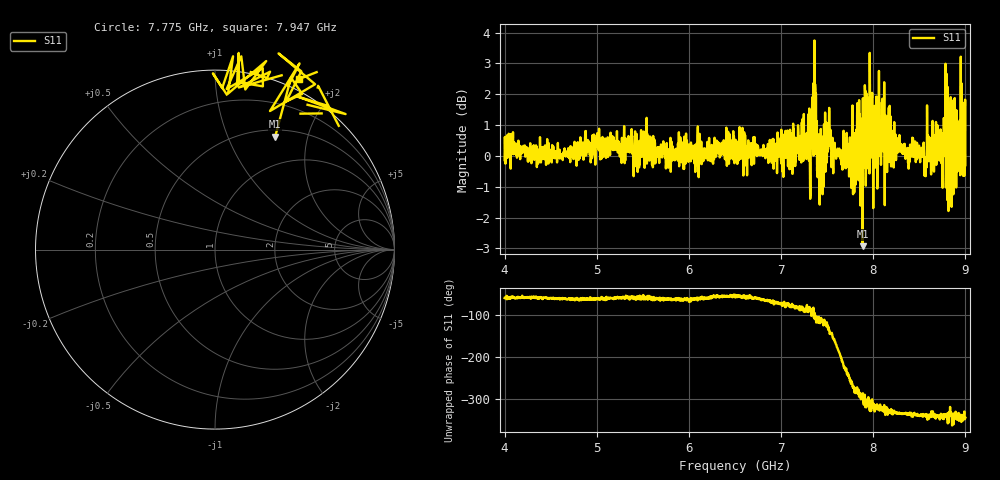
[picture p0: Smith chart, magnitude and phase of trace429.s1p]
! Created with skrf 1.8.0 (http://scikit-rf.org).
# Hz S RI R 50.0
!freq ReS11 ImS11
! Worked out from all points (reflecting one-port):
!   1601 points, 4 GHz to 9 GHz, reference 50 ohm
!   lowest |S11| = -2.9 dB at 7.884 GHz (marker M1), VSWR 5.99, Z = 29.3 + j75.1 ohm
!   phase of S11 starts at -60 deg and turns -285 deg over the sweep
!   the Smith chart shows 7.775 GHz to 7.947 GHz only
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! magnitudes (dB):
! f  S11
! 4 GHz  -0.1
! 4.069 GHz  0.7
! 4.625 GHz  -0.1
! 5.25 GHz  0.0
! 5.875 GHz  0.0
! 6.5 GHz  0.2
! 7.125 GHz  -0.6
! 7.297 GHz  1.4
! 7.328 GHz  0.3
! 7.356 GHz  2.2
! 7.381 GHz  0.5
! 7.4 GHz  0.2
! 7.438 GHz  0.5
! 7.512 GHz  1.1
! 7.572 GHz  0.0
! 7.75 GHz  0.0
! 7.797 GHz  0.7
! 7.844 GHz  0.3
! 7.884 GHz  -2.9
! 7.928 GHz  0.6
! 8.022 GHz  -0.4
! 8.05 GHz  1.8
! 8.375 GHz  0.2
! 8.728 GHz  0.3
! 8.788 GHz  -1.0
! 8.841 GHz  1.9
! 8.972 GHz  0.7
! 9 GHz  -0.3
